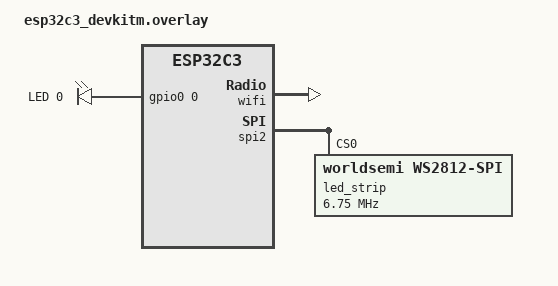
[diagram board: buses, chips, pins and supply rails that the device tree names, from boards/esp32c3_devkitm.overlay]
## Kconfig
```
# Copyright (c) 2021 Golioth, Inc.
# SPDX-License-Identifier: Apache-2.0

mainmenu "Golioth application options"

if DNS_RESOLVER

config DNS_SERVER_IP_ADDRESSES
	default y

config DNS_SERVER1
	default "1.1.1.1"

endif # DNS_RESOLVER

source "Kconfig.zephyr"
```

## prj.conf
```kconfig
CONFIG_GPIO=y

CONFIG_GOLIOTH_SAMPLES_COMMON=y

# Generic networking options
CONFIG_NETWORKING=y
CONFIG_NET_IPV4=y
CONFIG_NET_IPV6=n

# Logging
CONFIG_NET_LOG=y

# Network Shell
CONFIG_NET_SHELL=y

# TLS configuration
CONFIG_MBEDTLS_ENABLE_HEAP=y
CONFIG_MBEDTLS_HEAP_SIZE=10240
CONFIG_MBEDTLS_SSL_MAX_CONTENT_LEN=2048

# Application
CONFIG_MAIN_STACK_SIZE=4096

CONFIG_GOLIOTH=y
CONFIG_GOLIOTH_SYSTEM_CLIENT=y

CONFIG_MINIMAL_LIBC_MALLOC_ARENA_SIZE=2048

CONFIG_LOG_BACKEND_GOLIOTH=y
CONFIG_LOG_PROCESS_THREAD_STACK_SIZE=2048

CONFIG_GOLIOTH_SYSTEM_CLIENT_PSK_ID="REPLACEME"
CONFIG_GOLIOTH_SYSTEM_CLIENT_PSK="REPLACEME"

CONFIG_GOLIOTH_SAMPLE_WIFI_SSID="REPLACEME"
CONFIG_GOLIOTH_SAMPLE_WIFI_PSK="REPLACEME"

CONFIG_GOLIOTH_SETTINGS=y

CONFIG_LED_STRIP=y
CONFIG_WS2812_STRIP=y
CONFIG_WS2812_STRIP_SPI=y
CONFIG_SPI=y
```

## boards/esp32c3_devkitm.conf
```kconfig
CONFIG_WIFI=y
CONFIG_HEAP_MEM_POOL_SIZE=98304

CONFIG_NET_L2_ETHERNET=y

CONFIG_NET_DHCPV4=y

CONFIG_MBEDTLS_ENTROPY_ENABLED=y
CONFIG_MBEDTLS_KEY_EXCHANGE_ECDHE_ECDSA_ENABLED=y
CONFIG_MBEDTLS_ECP_ALL_ENABLED=y

CONFIG_ESP32_WIFI_STA_AUTO_DHCPV4=y

CONFIG_NET_L2_WIFI_SHELL=y
CONFIG_GOLIOTH_SAMPLE_WIFI=y
```

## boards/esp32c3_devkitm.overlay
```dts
#include <zephyr/dt-bindings/led/led.h>

/ {
    aliases {
        led0 = &led0;
        led-strip = &led_strip;
    };
    leds {
        compatible = "gpio-leds";
        led0: led_0 {
            gpios = <&gpio0 0 GPIO_ACTIVE_HIGH>;
            label = "LED 0";
        };
    };
};

&wifi {
	status = "okay";
};

&spi2 {
    led_strip: ws2812@0 {
        compatible = "worldsemi,ws2812-spi";

        /* SPI */
        reg = <0>; /* ignored, but necessary for SPI bindings */
        spi-max-frequency = <6750000>;
        frame-format = <32768>; /* SPI_FRAME_FORMAT_TI */

        /* WS2812 */
        chain-length = <3>; /* arbitrary; change at will */
        spi-one-frame = <0xF8>;
        spi-zero-frame = <0xE0>;
        color-mapping = <LED_COLOR_ID_GREEN
                 LED_COLOR_ID_RED
                 LED_COLOR_ID_BLUE>;
    };
};

&pinctrl {
    spim2_default: spim2_default {
        group2 {
            pinmux = <SPIM2_MOSI_GPIO8>;
        };
    };
};
```

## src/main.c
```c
/*
 * Copyright (c) 2016 Intel Corporation
 *
 * SPDX-License-Identifier: Apache-2.0
 */

#include <zephyr/kernel.h>
#include <zephyr/drivers/gpio.h>
#include <zephyr/logging/log.h>
LOG_MODULE_REGISTER(riscv_blinky, LOG_LEVEL_DBG);

#include <net/golioth/system_client.h>
#include <net/golioth/settings.h>
#include <samples/common/net_connect.h>
#include <zephyr/drivers/led_strip.h>
#include <zephyr/net/coap.h>

/* 1000 msec = 1 sec */
static int32_t _loop_delay_ms = 1000;

/* The devicetree node identifier for the "led0" alias. */
#define LED0_NODE DT_ALIAS(led0)

/*
 * A build error on this line means your board is unsupported.
 * See the sample documentation for information on how to fix this.
 */
static const struct gpio_dt_spec led = GPIO_DT_SPEC_GET(LED0_NODE, gpios);

static struct golioth_client *client = GOLIOTH_SYSTEM_CLIENT_GET();

static K_SEM_DEFINE(connected, 0, 1);

static k_tid_t _system_thread = 0;

#define STRIP_NODE		DT_ALIAS(led_strip)
#define STRIP_NUM_PIXELS	DT_PROP(DT_ALIAS(led_strip), chain_length)

#define DELAY_TIME K_MSEC(50)

#define RGB(_r, _g, _b) { .r = (_r), .g = (_g), .b = (_b) }

static const struct led_rgb colors[] = {
	RGB(0x00, 0x00, 0x00), /* off */
	RGB(0x0F, 0x00, 0x00), /* red */
	RGB(0x00, 0x0F, 0x00), /* green */
	RGB(0x00, 0x00, 0x0F), /* blue */
	RGB(0x08, 0x08, 0x00), /* yellow */
};

/* Color name definitions match colors[] index */
#define BLACK	0
#define RED		1
#define GREEN	2
#define BLUE	3
#define YELLOW	4

struct led_rgb pixels[STRIP_NUM_PIXELS];

static const struct device *const strip = DEVICE_DT_GET(STRIP_NODE);

enum golioth_settings_status on_setting(
		const char *key,
		const struct golioth_settings_value *value)
{
	LOG_DBG("Received setting: key = %s, type = %d", key, value->type);
	if (strcmp(key, "LOOP_DELAY_MS") == 0) {
		/* This setting is expected to be numeric, return an error if it's not */
		if (value->type != GOLIOTH_SETTINGS_VALUE_TYPE_INT64) {
			return GOLIOTH_SETTINGS_VALUE_FORMAT_NOT_VALID;
		}

		/* This setting must be in range [100, 60000], return an error if it's not */
		if (value->i64 < 100 || value->i64 > 60000) {
			return GOLIOTH_SETTINGS_VALUE_OUTSIDE_RANGE;
		}

		/* Setting has passed all checks, so apply it to the loop delay */
		_loop_delay_ms = (int32_t)value->i64;
		LOG_INF("Set loop delay to %d milliseconds", _loop_delay_ms);

		/* Wake up the main thread to use new value */
		k_wakeup(_system_thread);

		return GOLIOTH_SETTINGS_SUCCESS;
	}

	else if (strcmp(key, "LOOP_DELAY_S") == 0) {
		/* Do nothing, this app uses LOOP_DELAY_MS instead of _S */
		return GOLIOTH_SETTINGS_SUCCESS;
	}

	/* If the setting is not recognized, we should return an error */
	return GOLIOTH_SETTINGS_KEY_NOT_RECOGNIZED;
}


static void golioth_on_connect(struct golioth_client *client)
{
	k_sem_give(&connected);

	int err = golioth_settings_register_callback(client, on_setting);

	if (err) {
		LOG_ERR("Failed to register settings callback: %d", err);
	}
}

void main(void)
{
	int ret;
	int counter = 0;
	int err;

	LOG_DBG("Start Hello sample");

	/* Get system thread id so loop delay change event can wake main */
	_system_thread = k_current_get();

	if (device_is_ready(strip)) {
		LOG_INF("Found LED strip device %s", strip->name);
	} else {
		LOG_ERR("LED strip device %s is not ready", strip->name);
		return;
	}

	/* This is a hack to fix incorrect SPI polarity on ESP32s2-based boards */
	memset(&pixels, 0x00, sizeof(pixels));
	memcpy(&pixels[0], &colors[BLACK], sizeof(struct led_rgb));
	ret = led_strip_update_rgb(strip, pixels, STRIP_NUM_PIXELS);
	#define SPI_CTRL_REG 0x8
	#define SPI_D_POL 19
	uint32_t* myreg;
	myreg = (uint32_t*)(DT_REG_ADDR(DT_PARENT(DT_ALIAS(led_strip)))+SPI_CTRL_REG);
	*myreg &= ~(1<<SPI_D_POL);

	memcpy(&pixels[0], &colors[BLUE], sizeof(struct led_rgb));
	ret = led_strip_update_rgb(strip, pixels, STRIP_NUM_PIXELS);

	LOG_DBG("Fixing ESP32s2 Register %p Value: 0x%x", myreg, *myreg);

	if (!device_is_ready(led.port)) {
		return;
	}

	ret = gpio_pin_configure_dt(&led, GPIO_OUTPUT_ACTIVE);
	if (ret < 0) {
		return;
	}

	if (IS_ENABLED(CONFIG_GOLIOTH_SAMPLES_COMMON)) {
			net_connect();
	}

	client->on_connect = golioth_on_connect;
	golioth_system_client_start();

	k_sem_take(&connected, K_FOREVER);

	while (1) {
		LOG_INF("Sending hello! %d", counter);

		err = golioth_send_hello(client);
		if (err) {
				LOG_WRN("Failed to send hello!");
		}
		++counter;

		if (counter % 2) {
			memcpy(&pixels[0], &colors[BLUE], sizeof(struct led_rgb));
		}
		else {
			memcpy(&pixels[0], &colors[BLACK], sizeof(struct led_rgb));
		}
		ret = led_strip_update_rgb(strip, pixels, STRIP_NUM_PIXELS);

		ret = gpio_pin_toggle_dt(&led);
		if (ret < 0) {
			return;
		}
		k_sleep(K_MSEC(_loop_delay_ms));
	}
}
```
